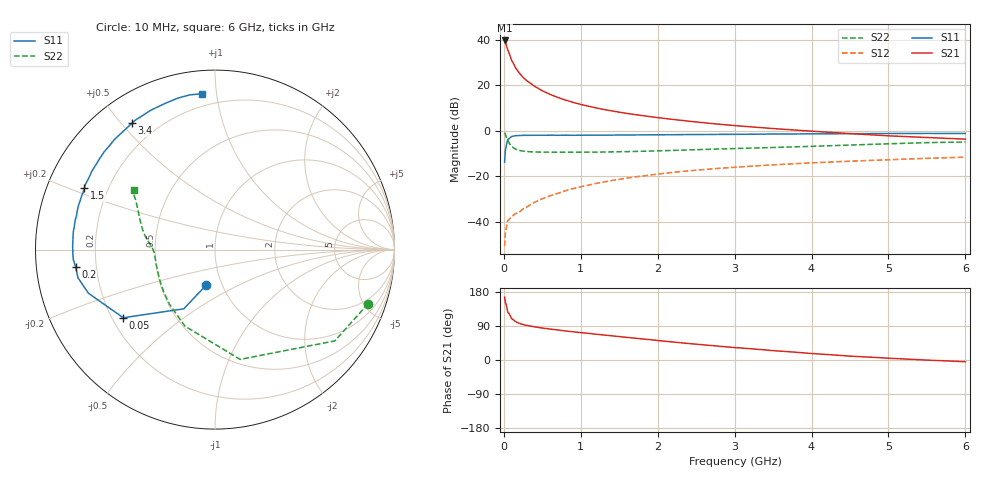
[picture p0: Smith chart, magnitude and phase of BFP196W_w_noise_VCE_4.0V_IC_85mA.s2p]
! Infineon Technologies  Discrete & RF Semiconductors
! BFP196W
! VCE =  4.0 V,  IC =  85 mA
! Common Emitter S-Parameters:  Jan 2017
# GHz  S  MA  R  50
!  f  S11  S21  S12  S22
! GHz  MAG  ANG  MAG  ANG  MAG  ANG  MAG  ANG
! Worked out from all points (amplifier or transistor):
!   77 points, 10 MHz to 6 GHz, reference 50 ohm
!   highest |S21| = 39.7 dB at 10 MHz (marker M1)
!   |S21| within 3 dB of that: start of sweep to 39.72 MHz
!   unconditionally stable (mu >= 1): 514.4 MHz to 3.303 GHz
!   at 130 MHz: K = 0.57, MSG = 33.1 dB, |S12| = -37.0 dB
!   at 2.2 GHz: K = 1.03, MAG = 10.5 dB, |S12| = -18.3 dB
!   at 6 GHz: K = 0.95, MSG = 4.0 dB, |S12| = -11.6 dB
!   lowest NFmin = 1.73 dB at 450 MHz
!   S11 on the Smith chart (normalised r, x): 10 MHz: 0.84, -0.35; 50 MHz: 0.24, -0.31; 200 MHz: 0.12, -0.06; 1.5 GHz: 0.11, +0.22; 3.4 GHz: 0.11, +0.53; 6 GHz: 0.13, +0.91
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0.01  0.2038 -103.9  96.39 165.9  0.0029 77.9  0.9051 -19.4
0.02  0.3731 -117.8  88.22 152.3  0.0054 71.6  0.8394 -37.3
0.05  0.6368 -143.4  60.43 126.6  0.0105 50.4  0.6276 -77.1
0.1  0.7459 -161.0  35.47 109.1  0.0127 47.0  0.458 -111.5
0.15  0.7797 -168.4  24.51 101.5  0.015 47.9  0.3959 -129.9
0.2  0.7821 -172.8  18.59 96.8  0.0162 52.3  0.3704 -140.4
0.25  0.7914 -176.0  14.94 93.5  0.0191 54.0  0.3567 -147.8
0.3  0.7923 -178.3  12.49 91.2  0.0211 56.9  0.3486 -152.9
0.4  0.7936 178.1  9.426 87.3  0.0267 62.0  0.3413 -159.7
0.5  0.7938 175.3  7.545 84.3  0.032 64.0  0.3381 -164.0
0.6  0.7957 172.8  6.304 81.6  0.037 66.2  0.3379 -167.1
0.7  0.7944 170.6  5.399 79.3  0.0419 66.6  0.3362 -169.4
0.9  0.7941 166.3  4.195 74.5  0.0534 66.8  0.3367 -172.7
1.1  0.7993 162.4  3.457 70.3  0.0636 66.3  0.3384 -175.3
1.3  0.8008 158.4  2.93 66.0  0.0745 65.4  0.3401 -177.6
1.5  0.8043 154.8  2.552 61.8  0.0852 64.2  0.3453 -179.7
2.1  0.8157 143.8  1.854 49.5  0.1164 59.0  0.3651 174.8
3.1  0.8342 127.7  1.259 31.4  0.1614 49.2  0.41 166.2
3.4  0.8427 123.3  1.15 26.5  0.1736 46.5  0.4232 163.5
4.1  0.8551 113.7  0.954 15.9  0.2 40.3  0.4593 156.6
5.1  0.8694 102.9  0.759 3.8  0.2335 31.9  0.5221 147.9
6  0.8716 94.6  0.653 -4.6  0.2624 24.8  0.564 143.6
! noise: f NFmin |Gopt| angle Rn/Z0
0.45  1.73  0.57  -175  0.06
0.9  1.87  0.6  -168  0.08
1.9  2.74  0.7  -148  0.21
2.4  3.15  0.74  -143  0.34
